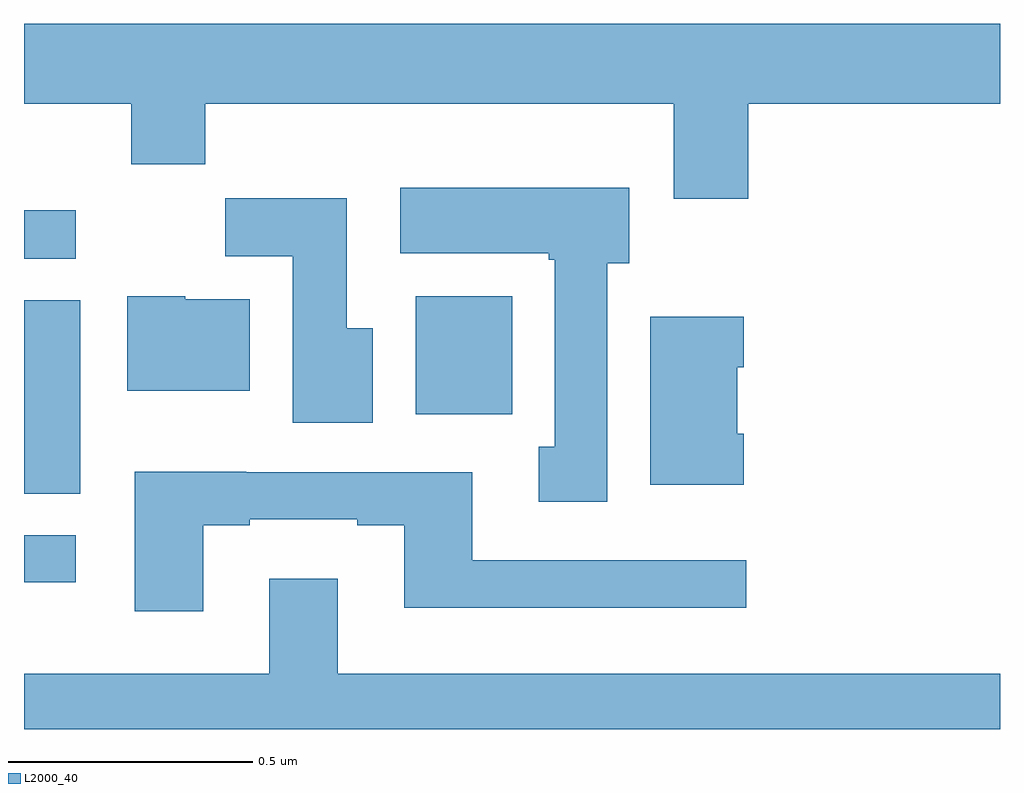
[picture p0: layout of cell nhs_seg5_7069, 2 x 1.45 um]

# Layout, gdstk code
import gdstk
lib = gdstk.Library(unit=1e-6, precision=1e-09)
def R(c, l, rs):  # rectangles x0, y0, x1, y1
    for r in rs: c.add(gdstk.rectangle(r[:2], r[2:], *l))
def P(c, l, *ps):  # polygons
    for p in ps: c.add(gdstk.Polygon(p, *l))
L2000_40 = (2000, 40)

nhs_seg5_7069 = lib.new_cell('nhs_seg5_7069')
R(nhs_seg5_7069, L2000_40, [(204,869.1,204.106,869.196), (204,869.281,204.115,869.678), (204.803,869.444,205,869.686), (204,869.763,204.106,869.862)])
P(nhs_seg5_7069, L2000_40, [(205.484,870.08),(206,870.08),(206,870.244),(204,870.244),(204,870.08),(204.22,870.08),(204.22,869.956),(204.371,869.956),(204.371,870.08),(205.331,870.08),(205.331,869.886),(205.484,869.886)],
  [(205.195,869.754),(205.24,869.754),(205.24,869.908),(204.771,869.908),(204.771,869.774),(205.075,869.774),(205.075,869.761),(205.088,869.761),(205.088,869.378),(205.055,869.378),(205.055,869.265),(205.195,869.265)],
  [(204.715,869.62),(204.661,869.62),(204.661,869.887),(204.412,869.887),(204.412,869.768),(204.551,869.768),(204.551,869.427),(204.715,869.427)],
  [(204.463,869.68),(204.33,869.68),(204.33,869.686),(204.212,869.686),(204.212,869.492),(204.463,869.492)],
  [(205.475,869.404),(205.462,869.404),(205.462,869.54),(205.475,869.54),(205.475,869.644),(205.283,869.644),(205.283,869.3),(205.475,869.3)],
  [(204.367,869.217),(204.463,869.217),(204.463,869.229),(204.683,869.229),(204.683,869.217),(204.779,869.217),(204.779,869.048),(205.48,869.048),(205.48,869.145),(204.919,869.145),(204.919,869.325),(204.455,869.325),(204.455,869.326),(204.227,869.326),(204.227,869.04),(204.367,869.04)],
  [(206,868.912),(204.643,868.912),(204.643,869.107),(204.503,869.107),(204.503,868.912),(204,868.912),(204,868.799),(206,868.799)])

lib.write_gds('nhs_seg5_7069.gds')
